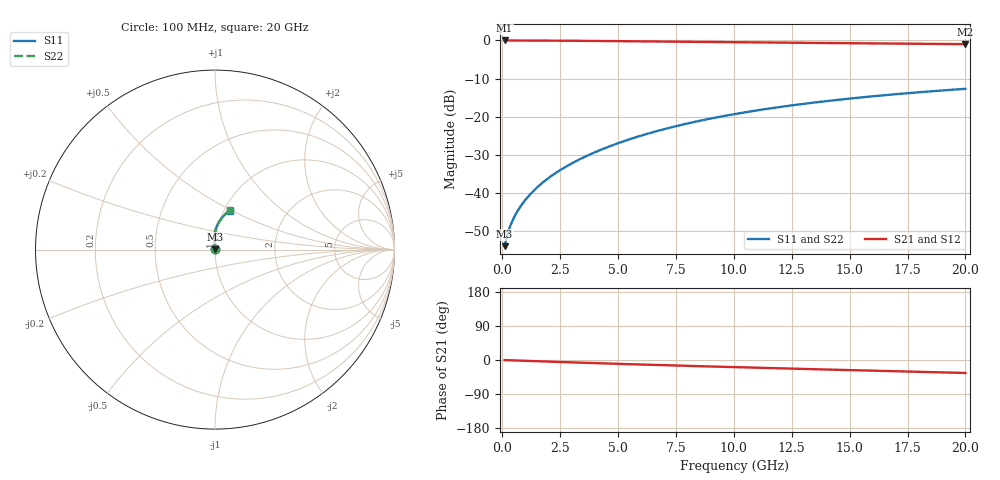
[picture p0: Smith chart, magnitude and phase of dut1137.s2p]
! Touchstone file exported from HFSS 2024.1.0
!  File:  C:/UserFiles/LocalFiles/RDL_TSV_Batchsim/temp_RDL_bottom_1137_1780055524.aedt
!  Generated:  07:54:18 PM May 29, 2026
!  Design:  RDL_bottom
!  Project:  temp_RDL_bottom_1137_1780055524
!  Setup:  Setup1
!  Solution:  Sweep
! Variables:
!  dtsv = 10.80580581um
!  hbump = 3um
!  htsv = 63.1um
!  ldown = 556.11um
!  lrdl = 100um
!  p = 40
!  p1 = 44.47um
!  rhole = 1um
!  t = 450um
!  tdown = 4.64um
!  trdl = 3.915915916um
!  wdown = 27.9um
!  wrdl = 20um
# GHz S MA R 50.000000
! Terminal data exported
! Port[1] = RDL1_T1
! Port[2] = RDL1_T2
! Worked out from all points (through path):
!   200 points, 100 MHz to 20 GHz, reference 50 ohm
!   highest |S21| = -0.02 dB at 100 MHz (marker M1); lowest = -1.0 dB at 20 GHz (marker M2)
!   group delay of S21, straight-line fit = 4.67 ps
!   lowest |S11| = -53.8 dB at 100 MHz (marker M3), VSWR 1.00, Z = 50.2 + j0.102 ohm
!   |S11| at or under -10 dB: start of sweep to end of sweep
!   |S22| runs from -53.8 to -12.7 dB; largest |S21 - S12| = 4e-15
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0.1  0.002032 29.9  0.9982 -0.2  0.9982 -0.2  0.002032 29.9
! Gamma 0 0 0 0
! Port Impedance 50 0 50 0
0.2  0.00272 45.2  0.998 -0.4  0.998 -0.4  0.00272 45.2
0.3  0.003439 53.0  0.9978 -0.7  0.9978 -0.7  0.003439 53.0
0.4  0.004128 58.1  0.9976 -0.9  0.9976 -0.9  0.004128 58.1
0.5  0.004798 62.1  0.9974 -1.1  0.9974 -1.1  0.004797 62.1
0.6  0.005463 65.4  0.9973 -1.3  0.9973 -1.3  0.005463 65.4
0.8  0.006816 70.7  0.9969 -1.7  0.9969 -1.7  0.006816 70.7
1.1  0.008931 76.5  0.9964 -2.4  0.9964 -2.4  0.008931 76.5
1.6  0.01268 82.7  0.995 -3.4  0.995 -3.4  0.01268 82.7
2.1  0.0167 86.6  0.9933 -4.4  0.9933 -4.4  0.0167 86.6
2.7  0.02187 89.8  0.9908 -5.7  0.9908 -5.7  0.02187 89.8
3.5  0.02936 92.5  0.9868 -7.3  0.9868 -7.3  0.02937 92.5
4.2  0.03648 93.8  0.9828 -8.6  0.9828 -8.6  0.03648 93.8
5  0.04519 94.4  0.9779 -10.1  0.9779 -10.1  0.0452 94.4
5.9  0.05564 94.3  0.9722 -11.8  0.9722 -11.8  0.05566 94.3
6.8  0.06664 93.7  0.9664 -13.4  0.9664 -13.4  0.06667 93.7
8.4  0.08712 91.5  0.9563 -16.1  0.9563 -16.1  0.08715 91.6
10.1  0.1095 88.6  0.9459 -18.9  0.9459 -18.9  0.1096 88.6
11.7  0.1307 85.5  0.9367 -21.5  0.9367 -21.5  0.1307 85.5
13.4  0.1529 82.1  0.9273 -24.2  0.9273 -24.2  0.1529 82.1
16.7  0.1942 75.6  0.91 -29.3  0.91 -29.3  0.1943 75.6
20  0.2326 69.4  0.8935 -34.2  0.8935 -34.2  0.2327 69.5
